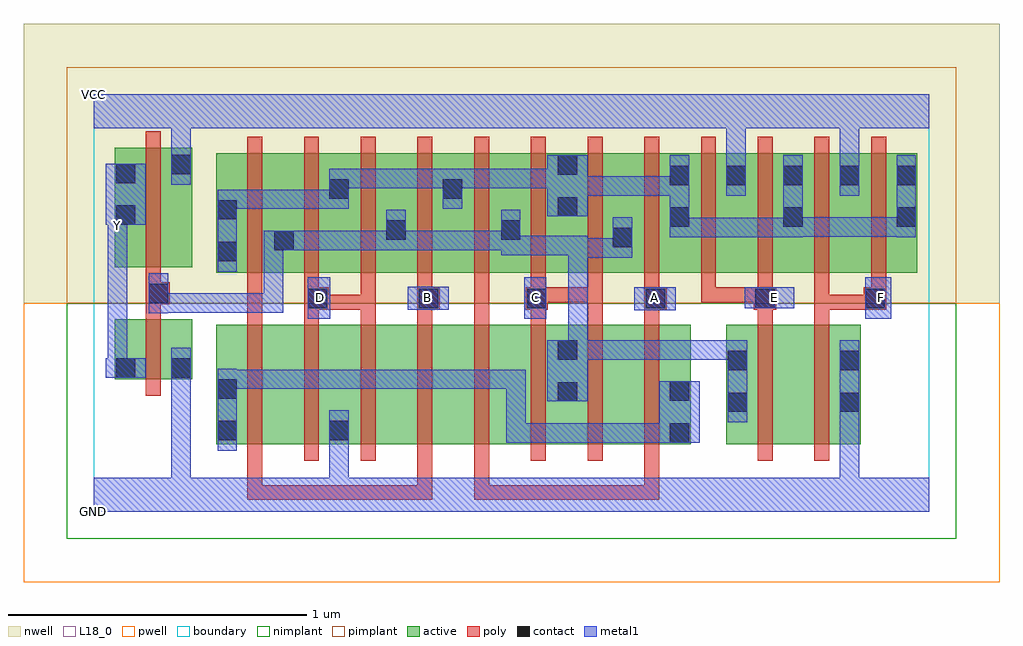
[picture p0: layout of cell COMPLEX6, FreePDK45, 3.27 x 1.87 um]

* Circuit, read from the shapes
.subckt COMPLEX6 A B C D E F GND VCC Y
M1 GND n1 Y VSUBS nfet w=0.2u l=0.05u
M2 n2 B n3 VSUBS nfet w=0.4u l=0.05u
M3 GND D n2 VSUBS nfet w=0.4u l=0.05u
M4 n4 D GND VSUBS nfet w=0.4u l=0.05u
M5 n5 B n4 VSUBS nfet w=0.4u l=0.05u
M6 n6 A n5 VSUBS nfet w=0.4u l=0.05u
M7 n1 C n6 VSUBS nfet w=0.4u l=0.05u
M8 n7 C n1 VSUBS nfet w=0.4u l=0.05u
M9 n3 A n7 VSUBS nfet w=0.4u l=0.05u
M10 n8 E n1 VSUBS nfet w=0.4u l=0.05u
M11 GND F n8 VSUBS nfet w=0.4u l=0.05u
M12 VCC n1 Y n9 pfet w=0.4u l=0.05u
M13 n1 B n10 n9 pfet w=0.4u l=0.05u m=2
M14 n10 D n1 n9 pfet w=0.4u l=0.05u m=2
M15 n1 A n10 n9 pfet w=0.4u l=0.05u m=2
M16 n10 C n1 n9 pfet w=0.4u l=0.05u m=2
M17 VCC E n10 n9 pfet w=0.4u l=0.05u m=2
M18 VCC F n10 n9 pfet w=0.4u l=0.05u m=2
.ends

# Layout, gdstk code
import gdstk
lib = gdstk.Library(unit=1e-6, precision=1e-09)
def R(c, l, rs):  # rectangles x0, y0, x1, y1
    for r in rs: c.add(gdstk.rectangle(r[:2], r[2:], *l))
def A(c, l, x, y, w, h, nx, ny, dx, dy):  # array of equal rectangles
    R(c, l, [(x+i*dx, y+j*dy, x+i*dx+w, y+j*dy+h) for i in range(nx) for j in range(ny)])
active = (1, 0)
pwell = (2, 0)
nwell = (3, 0)
nimplant = (4, 0)
pimplant = (5, 0)
poly = (9, 0)
contact = (10, 0)
metal1 = (11, 0)
L18_0 = (18, 0)
boundary = (235, 0)

complex6 = lib.new_cell('COMPLEX6')
A(complex6, active, 1.735, 0.802, 0.265, 0.4, 5, 1, 0.19, 0)
R(complex6, active, [(0.41,0.227,0.635,0.627), (0.41,0.227,0.485,0.627), (0.635,0.227,0.86,0.627), (0.785,0.227,1.015,0.627), (0.785,0.227,0.86,0.617), (1.015,0.227,1.205,0.627), (1.205,0.227,1.395,0.627), (1.395,0.227,1.625,0.627), (1.55,0.227,1.775,0.627), (1.775,0.227,2,0.627), (1.925,0.227,2,0.627), (2.12,0.227,2.345,0.627), (2.345,0.227,2.57,0.627), (1.55,0.245,1.625,0.617), (2.12,0.245,2.195,0.627), (2.495,0.245,2.57,0.627), (0.07,0.445,0.145,0.645), (0.07,0.445,0.33,0.645), (0.255,0.445,0.33,0.645), (0.41,0.802,0.485,1.192), (0.41,0.802,0.675,1.202), (0.6,0.802,0.675,1.07), (0.6,0.802,0.86,1.202), (0.785,0.802,1.05,1.202), (0.975,0.802,1.24,1.202), (0.975,0.802,1.05,1.07), (1.165,0.802,1.435,1.202), (1.36,0.802,1.625,1.202), (1.36,0.802,1.435,1.07), (1.55,0.802,1.81,1.202), (1.735,0.802,1.81,1.07), (1.925,0.802,2,1.192), (2.115,0.802,2.19,1.202), (2.305,0.802,2.38,1.2), (2.685,0.802,2.76,1.165), (0.07,0.82,0.33,1.22), (0.07,0.82,0.145,1.2), (0.255,0.82,0.33,1.22), (1.165,0.847,1.24,1.192), (0.785,0.907,0.86,1.192), (1.55,0.907,1.625,1.2), (2.495,0.907,2.57,1.165)])
R(complex6, pwell, [(-0.235,-0.235,3.035,0.7)])
R(complex6, nwell, [(-0.235,0.7,3.035,1.635)])
R(complex6, nimplant, [(-0.09,-0.09,2.89,0.7)])
R(complex6, pimplant, [(-0.09,0.7,2.89,1.49)])
A(complex6, poly, 0.515, 0.172, 0.05, 0.51, 8, 1, 0.19, 0)
A(complex6, poly, 0.705, 0.632, 0.05, 0.095, 3, 1, 0.19, 0)
A(complex6, poly, 1.465, 0.632, 0.05, 0.095, 3, 1, 0.38, 0)
A(complex6, poly, 1.085, 0.702, 0.05, 0.095, 7, 1, 0.19, 0)
A(complex6, poly, 0.515, 0.747, 0.05, 0.51, 12, 1, 0.19, 0)
R(complex6, poly, [(0.515,0.04,0.565,0.09), (0.515,0.04,0.565,0.09), (0.515,0.04,0.565,0.09), (0.515,0.04,0.565,0.222), (0.515,0.04,0.812,0.09), (0.762,0.04,0.812,0.09), (0.762,0.04,0.812,0.09), (0.762,0.04,0.812,0.09), (0.762,0.04,1.002,0.09), (0.952,0.04,1.002,0.09), (0.952,0.04,1.135,0.09), (1.085,0.04,1.135,0.09), (1.085,0.04,1.135,0.09), (1.085,0.04,1.135,0.09), (1.085,0.04,1.135,0.222), (1.275,0.04,1.325,0.09), (1.275,0.04,1.325,0.09), (1.275,0.04,1.325,0.09), (1.275,0.04,1.325,0.222), (1.275,0.04,1.572,0.09), (1.522,0.04,1.572,0.09), (1.522,0.04,1.572,0.09), (1.522,0.04,1.572,0.09), (1.522,0.04,1.705,0.09), (1.655,0.04,1.705,0.09), (1.655,0.04,1.705,0.09), (1.655,0.04,1.705,0.09), (1.655,0.04,1.895,0.09), (1.845,0.04,1.895,0.09), (1.845,0.04,1.895,0.222), (2.225,0.172,2.275,0.682), (2.415,0.172,2.465,0.682), (0.175,0.39,0.225,0.7), (0.515,0.632,0.565,0.752), (1.275,0.632,1.325,0.752), (1.655,0.632,1.705,0.752), (2.415,0.632,2.465,0.727), (0.175,0.65,0.225,0.745), (0.705,0.677,0.787,0.752), (0.737,0.677,0.787,0.727), (0.737,0.677,0.787,0.727), (0.737,0.677,0.945,0.727), (0.895,0.677,0.945,0.727), (0.895,0.677,0.945,0.797), (1.085,0.677,1.16,0.752), (1.447,0.677,1.522,0.752), (1.845,0.677,1.92,0.752), (2.212,0.677,2.287,0.752), (2.415,0.677,2.465,0.727), (2.415,0.677,2.63,0.727), (2.415,0.677,2.465,0.797), (2.58,0.677,2.63,0.727), (2.58,0.677,2.63,0.727), (2.58,0.677,2.655,0.752), (0.175,0.695,0.255,0.77), (0.515,0.702,0.565,0.797), (0.515,0.702,0.565,0.752), (0.705,0.702,0.755,0.797), (1.275,0.702,1.325,0.752), (1.472,0.702,1.522,0.752), (1.472,0.702,1.522,0.752), (1.472,0.702,1.705,0.752), (1.655,0.702,1.705,0.752), (2.035,0.702,2.085,0.752), (2.035,0.702,2.085,0.752), (2.035,0.702,2.085,0.752), (2.035,0.702,2.262,0.752), (2.605,0.702,2.655,0.797), (0.175,0.72,0.225,0.815), (0.175,0.765,0.225,1.275)])
A(complex6, contact, 1.93, 0.955, 0.065, 0.065, 3, 1, 0.38, 0)
A(complex6, contact, 1.93, 1.095, 0.065, 0.065, 5, 1, 0.19, 0)
R(complex6, contact, [(1.93,0.232,1.995,0.297), (0.415,0.24,0.48,0.305), (0.79,0.24,0.855,0.305), (2.125,0.335,2.19,0.4), (2.5,0.335,2.565,0.4), (1.555,0.37,1.62,0.435), (1.93,0.372,1.995,0.437), (0.415,0.38,0.48,0.445), (0.075,0.45,0.14,0.515), (0.26,0.45,0.325,0.515), (2.125,0.475,2.19,0.54), (2.5,0.475,2.565,0.54), (1.555,0.51,1.62,0.575), (0.717,0.682,0.782,0.747), (1.09,0.682,1.155,0.747), (1.452,0.682,1.517,0.747), (1.85,0.682,1.915,0.747), (2.217,0.682,2.282,0.747), (2.585,0.682,2.65,0.747), (0.185,0.7,0.25,0.765), (0.415,0.84,0.48,0.905), (0.605,0.877,0.67,0.942), (1.74,0.887,1.805,0.952), (0.98,0.912,1.045,0.977), (1.365,0.912,1.43,0.977), (0.075,0.962,0.14,1.027), (0.415,0.98,0.48,1.045), (1.555,0.99,1.62,1.055), (0.79,1.05,0.855,1.115), (1.17,1.05,1.235,1.115), (0.075,1.102,0.14,1.167), (1.555,1.13,1.62,1.195), (0.26,1.132,0.325,1.197)])
A(complex6, metal1, 1.93, 0.92, 0.065, 0.275, 3, 1, 0.38, 0)
R(complex6, metal1, [(0,0,2.8,0.115), (0.26,0.05,0.325,0.115), (0.26,0.05,0.325,0.115), (0.26,0.05,0.325,0.115), (0.26,0.05,0.325,0.115), (0.26,0.05,0.325,0.115), (0.26,0.05,0.325,0.115), (0.26,0.05,0.325,0.48), (0.79,0.05,0.855,0.115), (0.79,0.05,0.855,0.115), (0.79,0.05,0.855,0.27), (2.5,0.05,2.565,0.365), (0.415,0.205,0.48,0.48), (0.79,0.205,0.855,0.34), (1.382,0.232,1.447,0.297), (1.382,0.232,1.447,0.297), (1.382,0.232,1.447,0.297), (1.382,0.232,1.667,0.297), (1.382,0.232,1.447,0.477), (1.602,0.232,1.667,0.297), (1.602,0.232,1.667,0.297), (1.602,0.232,1.667,0.297), (1.602,0.232,1.822,0.297), (1.757,0.232,1.822,0.297), (1.757,0.232,1.822,0.297), (1.757,0.232,1.822,0.297), (1.757,0.232,1.96,0.297), (1.895,0.232,2.03,0.437), (2.125,0.3,2.19,0.575), (2.5,0.3,2.565,0.365), (2.5,0.3,2.565,0.365), (2.5,0.3,2.565,0.575), (1.52,0.37,1.655,0.575), (0.415,0.412,0.48,0.477), (0.415,0.412,0.48,0.477), (0.415,0.412,0.705,0.477), (0.64,0.412,0.705,0.477), (0.64,0.412,0.705,0.477), (0.64,0.412,0.705,0.477), (0.64,0.412,0.842,0.477), (0.777,0.412,0.842,0.477), (0.777,0.412,0.842,0.477), (0.777,0.412,0.842,0.477), (0.777,0.412,0.992,0.477), (0.927,0.412,0.992,0.477), (0.927,0.412,0.992,0.477), (0.927,0.412,0.992,0.477), (0.927,0.412,1.182,0.477), (1.117,0.412,1.182,0.477), (1.117,0.412,1.182,0.477), (1.117,0.412,1.182,0.477), (1.117,0.412,1.447,0.477), (1.382,0.412,1.447,0.477), (0.26,0.415,0.325,0.55), (0.04,0.45,0.175,0.515), (0.047,0.45,0.112,0.957), (1.59,0.51,1.655,0.575), (1.59,0.51,1.655,0.575), (1.59,0.51,1.655,0.575), (1.59,0.51,1.655,0.575), (1.59,0.51,1.822,0.575), (1.59,0.51,1.655,0.917), (1.757,0.51,1.822,0.575), (1.757,0.51,1.822,0.575), (1.757,0.51,1.822,0.575), (1.757,0.51,2.022,0.575), (1.957,0.51,2.022,0.575), (1.957,0.51,2.022,0.575), (1.957,0.51,2.022,0.575), (1.957,0.51,2.19,0.575), (0.717,0.647,0.792,0.787), (1.442,0.647,1.517,0.787), (2.585,0.647,2.672,0.787), (0.185,0.665,0.25,0.8), (0.185,0.667,0.25,0.732), (0.185,0.667,0.25,0.732), (0.185,0.667,0.497,0.732), (0.432,0.667,0.497,0.732), (0.432,0.667,0.497,0.732), (0.432,0.667,0.497,0.732), (0.432,0.667,0.635,0.732), (0.57,0.667,0.635,0.732), (0.57,0.667,0.635,0.942), (1.812,0.675,1.95,0.752), (1.052,0.677,1.19,0.755), (2.182,0.682,2.347,0.752), (0.415,0.805,0.48,1.08), (1.59,0.852,1.655,0.917), (1.59,0.852,1.655,0.917), (1.59,0.852,1.805,0.917), (1.59,0.852,1.655,0.925), (1.74,0.852,1.805,0.987), (1.365,0.86,1.655,0.925), (1.365,0.86,1.43,0.942), (0.57,0.877,0.705,0.942), (0.64,0.877,0.705,0.942), (0.64,0.877,0.705,0.942), (0.64,0.877,0.842,0.942), (0.777,0.877,0.842,0.942), (0.777,0.877,0.842,0.942), (0.777,0.877,0.842,0.942), (0.777,0.877,1.045,0.942), (0.98,0.877,1.045,0.942), (0.98,0.877,1.045,0.942), (0.98,0.877,1.045,1.012), (0.98,0.877,1.24,0.942), (1.175,0.877,1.24,0.942), (1.175,0.877,1.24,0.942), (1.175,0.877,1.24,0.942), (1.175,0.877,1.43,0.942), (1.365,0.877,1.43,0.942), (1.365,0.877,1.43,1.012), (0.047,0.892,0.112,1.027), (1.93,0.92,1.995,0.985), (1.93,0.92,1.995,0.985), (1.93,0.92,2.11,0.985), (2.045,0.92,2.11,0.985), (2.045,0.92,2.237,0.985), (2.172,0.92,2.237,0.985), (2.172,0.92,2.375,0.985), (2.31,0.92,2.375,0.985), (2.31,0.92,2.375,0.985), (2.31,0.922,2.512,0.987), (2.447,0.922,2.512,0.987), (2.447,0.922,2.512,0.987), (2.447,0.922,2.512,0.987), (2.447,0.922,2.755,0.987), (2.69,0.922,2.755,0.987), (2.69,0.922,2.755,0.987), (0.04,0.962,0.175,1.167), (0.047,0.962,0.112,1.027), (1.52,0.99,1.655,1.195), (0.415,1.015,0.48,1.08), (0.415,1.015,0.48,1.08), (0.415,1.015,0.705,1.08), (0.64,1.015,0.705,1.08), (0.64,1.015,0.705,1.08), (0.64,1.015,0.705,1.08), (0.64,1.015,0.855,1.08), (0.79,1.015,0.855,1.15), (1.17,1.015,1.235,1.15), (1.59,1.06,1.655,1.125), (1.59,1.06,1.655,1.125), (1.59,1.06,1.822,1.125), (1.757,1.06,1.822,1.125), (1.757,1.06,1.822,1.125), (1.757,1.06,1.822,1.125), (1.757,1.06,1.995,1.125), (2.12,1.06,2.185,1.195), (2.5,1.06,2.565,1.195), (0.79,1.085,0.855,1.15), (0.79,1.085,0.855,1.15), (0.79,1.085,0.992,1.15), (0.927,1.085,0.992,1.15), (0.927,1.085,1.045,1.15), (0.98,1.085,1.045,1.15), (0.98,1.085,1.235,1.15), (1.17,1.085,1.235,1.15), (1.17,1.085,1.235,1.15), (1.17,1.085,1.377,1.15), (1.312,1.085,1.377,1.15), (1.312,1.085,1.377,1.15), (1.312,1.085,1.377,1.15), (1.312,1.085,1.585,1.15), (0.26,1.097,0.325,1.232), (2.12,1.13,2.185,1.35), (2.5,1.13,2.565,1.35), (0.26,1.167,0.325,1.35), (0,1.285,2.8,1.4)])
A(complex6, L18_0, 0.727, 0.687, 0.065, 0.065, 3, 1, 0.36, 0)
R(complex6, L18_0, [(0,0,2.8,0.115), (0.26,0.05,0.325,0.115), (0.26,0.05,0.325,0.115), (0.26,0.05,0.325,0.115), (0.26,0.05,0.325,0.115), (0.26,0.05,0.325,0.115), (0.26,0.05,0.325,0.115), (0.26,0.05,0.325,0.48), (0.79,0.05,0.855,0.115), (0.79,0.05,0.855,0.115), (0.79,0.05,0.855,0.27), (2.5,0.05,2.565,0.365), (0.79,0.205,0.855,0.34), (2.5,0.3,2.565,0.365), (2.5,0.3,2.565,0.365), (2.5,0.3,2.565,0.575), (0.26,0.415,0.325,0.55), (0.04,0.45,0.175,0.515), (0.047,0.45,0.112,0.957), (0.717,0.647,0.792,0.787), (1.442,0.647,1.517,0.787), (2.585,0.647,2.672,0.787), (1.812,0.675,1.95,0.752), (1.052,0.677,1.19,0.755), (2.182,0.682,2.347,0.752), (1.847,0.687,1.912,0.752), (2.247,0.687,2.312,0.752), (2.607,0.687,2.672,0.752), (0.047,0.892,0.112,1.027), (0.047,0.927,0.112,0.992), (0.04,0.962,0.175,1.167), (0.047,0.962,0.112,1.027), (2.12,1.06,2.185,1.195), (2.5,1.06,2.565,1.195), (0.26,1.097,0.325,1.232), (2.12,1.13,2.185,1.35), (2.5,1.13,2.565,1.35), (0.26,1.167,0.325,1.35), (0,1.285,2.8,1.4)])
R(complex6, boundary, [(0,0,2.8,1.4)])
complex6.add(gdstk.Label('A', (1.88,0.72), layer=11, texttype=0))
complex6.add(gdstk.Label('B', (1.12,0.72), layer=11, texttype=0))
complex6.add(gdstk.Label('C', (1.48,0.72), layer=11, texttype=0))
complex6.add(gdstk.Label('D', (0.76,0.72), layer=11, texttype=0))
complex6.add(gdstk.Label('E', (2.28,0.72), layer=11, texttype=0))
complex6.add(gdstk.Label('F', (2.64,0.72), layer=11, texttype=0))
complex6.add(gdstk.Label('Y', (0.08,0.96), layer=11, texttype=0))
complex6.add(gdstk.Label('VCC', (0,1.4), layer=11, texttype=0))
complex6.add(gdstk.Label('GND', (0,0), layer=11, texttype=0))

lib.write_gds('COMPLEX6.gds')
